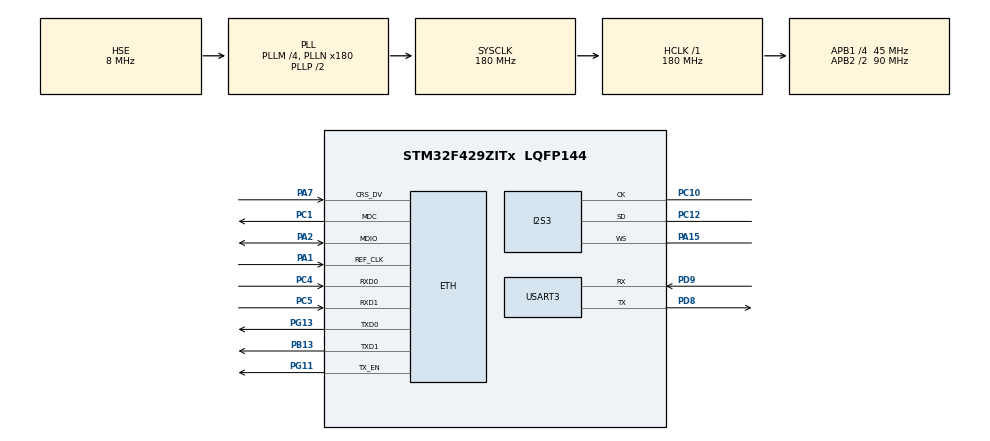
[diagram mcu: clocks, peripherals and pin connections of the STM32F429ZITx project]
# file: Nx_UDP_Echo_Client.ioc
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Dma.Request0=SPI3_TX
Dma.SPI3_TX.0.Direction=DMA_MEMORY_TO_PERIPH
Dma.SPI3_TX.0.FIFOMode=DMA_FIFOMODE_DISABLE
Dma.SPI3_TX.0.Instance=DMA1_Stream5
Dma.SPI3_TX.0.MemDataAlignment=DMA_MDATAALIGN_HALFWORD
Dma.SPI3_TX.0.MemInc=DMA_MINC_ENABLE
Dma.SPI3_TX.0.Mode=DMA_CIRCULAR
Dma.SPI3_TX.0.PeriphDataAlignment=DMA_PDATAALIGN_HALFWORD
Dma.SPI3_TX.0.PeriphInc=DMA_PINC_DISABLE
Dma.SPI3_TX.0.Priority=DMA_PRIORITY_LOW
ETH.ChecksumMode=ETH_CHECKSUM_BY_HARDWARE
ETH.MACAddr=00\:11\:83\:45\:26\:20
ETH.MediaInterface=HAL_ETH_RMII_MODE
ETH.PhyAddress=0
ETH.RxMode=ETH_RXINTERRUPT_MODE
I2S3.AudioFreq=I2S_AUDIOFREQ_48K
I2S3.ErrorAudioFreq=0.0 %
I2S3.FullDuplexMode=I2S_FULLDUPLEXMODE_DISABLE
I2S3.Instance=SPI$Index
I2S3.RealAudioFreq=48.0 KHz
I2S3.VirtualMode=I2S_MODE_MASTER
Mcu.Family=STM32F4
Mcu.Name=STM32F429ZITx
Mcu.Package=LQFP144
NVIC.DMA1_Stream5_IRQn=true\:1\:0\:true\:false\:true\:true\:false\:true\:true
NVIC.ETH_IRQn=true\:7\:0\:true\:false\:true\:false\:false\:true\:true
NVIC.PriorityGroup=NVIC_PRIORITYGROUP_4
NVIC.SPI3_IRQn=true\:2\:0\:true\:false\:true\:false\:true\:true\:true
NVIC.TIM6_DAC_IRQn=true\:15\:0\:false\:false\:true\:false\:false\:true\:true
NVIC.TIM7_IRQn=true\:14\:0\:true\:false\:true\:false\:true\:true\:true
NVIC.TimeBase=TIM6_DAC_IRQn
NVIC.TimeBaseIP=TIM6
PA1.Mode=RMII
PA1.Signal=ETH_REF_CLK
PA15.GPIO_Speed=GPIO_SPEED_FREQ_VERY_HIGH
PA15.Mode=Half_Duplex_Master
PA15.Signal=I2S3_WS
PA2.Mode=RMII
PA2.Signal=ETH_MDIO
PA7.Mode=RMII
PA7.Signal=ETH_CRS_DV
PB13.Mode=RMII
PB13.Signal=ETH_TXD1
PC1.Mode=RMII
PC1.Signal=ETH_MDC
PC10.GPIO_Speed=GPIO_SPEED_FREQ_VERY_HIGH
PC10.Mode=Half_Duplex_Master
PC10.Signal=I2S3_CK
PC12.GPIO_Speed=GPIO_SPEED_FREQ_VERY_HIGH
PC12.Mode=Half_Duplex_Master
PC12.Signal=I2S3_SD
PC4.Mode=RMII
PC4.Signal=ETH_RXD0
PC5.Mode=RMII
PC5.Signal=ETH_RXD1
PD8.Mode=Asynchronous
PD8.Signal=USART3_TX
PD9.Mode=Asynchronous
PD9.Signal=USART3_RX
PG11.Mode=RMII
PG11.Signal=ETH_TX_EN
PG13.Mode=RMII
PG13.Signal=ETH_TXD0
PH0/OSC_IN.Mode=HSE-External-Clock-Source
PH0/OSC_IN.Signal=RCC_OSC_IN
PH1/OSC_OUT.Mode=HSE-External-Clock-Source
PH1/OSC_OUT.Signal=RCC_OSC_OUT
ProjectManager.HeapSize=0x200
ProjectManager.StackSize=0x400
ProjectManager.TargetToolchain=STM32CubeIDE
RCC.48MHZClocksFreq_Value=120000000
RCC.AHBFreq_Value=180000000
RCC.APB1CLKDivider=RCC_HCLK_DIV4
RCC.APB1Freq_Value=45000000
RCC.APB1TimFreq_Value=90000000
RCC.APB2CLKDivider=RCC_HCLK_DIV2
RCC.APB2Freq_Value=90000000
RCC.APB2TimFreq_Value=180000000
RCC.CortexFreq_Value=180000000
RCC.HCLKFreq_Value=180000000
RCC.HSE_VALUE=8000000
RCC.HSI_VALUE=16000000
RCC.LSE_VALUE=32768
RCC.PLLI2SR=5
RCC.PLLM=4
RCC.PLLN=180
RCC.PLLQ=3
RCC.PLLSourceVirtual=RCC_PLLSOURCE_HSE
RCC.SYSCLKFreq_VALUE=180000000
RCC.SYSCLKSource=RCC_SYSCLKSOURCE_PLLCLK
RCC.VCOOutputFreq_Value=360000000
STMicroelectronics.X-CUBE-AZRTOS-F4.1.1.0.AZUREIiRTOSIiApplicationsCcDeviceJjApplication=azureIirtosIiapp
STMicroelectronics.X-CUBE-AZRTOS-F4.1.1.0.AZUREIiRTOSIiApplicationsCcDeviceJjHWIiProfile=STM32F429ZIIiNUCLEO
STMicroelectronics.X-CUBE-AZRTOS-F4.1.1.0.InterfacesCcNetworkJjEthernetOoInterface=true
STMicroelectronics.X-CUBE-AZRTOS-F4.1.1.0.InterfacesCcNetworkJjEthernetOoPhyOoInterface=LAN8742IiPhyIiInterface
STMicroelectronics.X-CUBE-AZRTOS-F4.1.1.0.NX_APP_MEM_POOL_SIZE=30 * 1024
STMicroelectronics.X-CUBE-AZRTOS-F4.1.1.0.NX_ENABLE_INTERFACE_CAPABILITY=true
STMicroelectronics.X-CUBE-AZRTOS-F4.1.1.0.NetXDuoCcNetworkJjNetXDuoJjAddonsOoDHCPOoClient=true
STMicroelectronics.X-CUBE-AZRTOS-F4.1.1.0.NetXDuoCcNetworkJjNetXDuoJjNXOoCore=true
STMicroelectronics.X-CUBE-AZRTOS-F4.1.1.0.STM32CubeIiBSPIiComponentsCcBoardOoPartJjETHPhyJjLAN8742=true
STMicroelectronics.X-CUBE-AZRTOS-F4.1.1.0.TX_DISABLE_NOTIFY_CALLBACKS=0
STMicroelectronics.X-CUBE-AZRTOS-F4.1.1.0.TX_DISABLE_PREEMPTION_THRESHOLD=1
STMicroelectronics.X-CUBE-AZRTOS-F4.1.1.0.TX_ENABLE_EXECUTION_CHANGE_NOTIFY=1
STMicroelectronics.X-CUBE-AZRTOS-F4.1.1.0.ThreadXCcRTOSJjThreadXJjCore=true
STMicroelectronics.X-CUBE-AZRTOS-F4.1.1.0_IsAnAzureRtosMw=true
TIM7.Period=24999
TIM7.Prescaler=90
USART3.VirtualMode=VM_ASYNC
VP_STMicroelectronics.X-CUBE-AZRTOS-F4_VS_BoardOoPartJjSTM32CubeIiBSPIiComponents_1.1.0_1.1.0.Mode=BoardOoPartJjSTM32CubeIiBSPIiComponents
VP_STMicroelectronics.X-CUBE-AZRTOS-F4_VS_NetworkJjInterfaces_2.1.0_1.1.0.Mode=NetworkJjInterfaces
VP_STMicroelectronics.X-CUBE-AZRTOS-F4_VS_NetworkJjNetXDuo_6.1.10_1.1.0.Mode=NetworkJjNetXDuo
VP_STMicroelectronics.X-CUBE-AZRTOS-F4_VS_RTOSJjThreadX_6.1.10_1.1.0.Mode=RTOSJjThreadX
VP_SYS_VS_tim6.Mode=TIM6
VP_TIM7_VS_ClockSourceINT.Mode=Enable_Timer
board=NUCLEO-F429ZI

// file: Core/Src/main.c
/* USER CODE BEGIN Header */
/**
  ******************************************************************************
  * @file           : main.c
  * @brief          : Main program body
  ******************************************************************************
  * @attention
  *
  * Copyright (c) 2021 STMicroelectronics.
  * All rights reserved.
  *
  * This software is licensed under terms that can be found in the LICENSE file
  * in the root directory of this software component.
  * If no LICENSE file comes with this software, it is provided AS-IS.
  *
  ******************************************************************************
  */
/* USER CODE END Header */
#include "app_threadx.h"
#include "main.h"
#include "string.h"

/* USER CODE BEGIN Includes */
#include <stdio.h>
/* USER CODE END Includes */

/* USER CODE BEGIN PM */
#if defined ( __GNUC__) && !defined(__clang__)
/* With GCC, small printf (option LD Linker->Libraries->Small printf
   set to 'Yes') calls __io_putchar() */
#define PUTCHAR_PROTOTYPE int __io_putchar(int ch)
#else
#define PUTCHAR_PROTOTYPE int fputc(int ch, FILE *f)
#endif /* __GNUC__ */

/* USER CODE END PM */

ETH_TxPacketConfig TxConfig;
ETH_DMADescTypeDef  DMARxDscrTab[ETH_RX_DESC_CNT]; /* Ethernet Rx DMA Descriptors */
ETH_DMADescTypeDef  DMATxDscrTab[ETH_TX_DESC_CNT]; /* Ethernet Tx DMA Descriptors */

ETH_HandleTypeDef heth;

I2S_HandleTypeDef hi2s3;
DMA_HandleTypeDef hdma_spi3_tx;

TIM_HandleTypeDef htim7;

UART_HandleTypeDef huart3;

void SystemClock_Config(void);
static void MX_GPIO_Init(void);
static void MX_DMA_Init(void);
static void MX_ETH_Init(void);
static void MX_USART3_UART_Init(void);
static void MX_I2S3_Init(void);
static void MX_TIM7_Init(void);

int main(void)
{

  /* MCU Configuration--------------------------------------------------------*/

  /* Reset of all peripherals, Initializes the Flash interface and the Systick. */
  HAL_Init();

  /* Configure the system clock */
  SystemClock_Config();

  /* USER CODE BEGIN SysInit */
  BSP_LED_Init(LED_GREEN);
  BSP_LED_Init(LED_BLUE);
  BSP_LED_Init(LED_RED);
  /* USER CODE END SysInit */

  /* Initialize all configured peripherals */
  MX_GPIO_Init();
  MX_DMA_Init();
  MX_ETH_Init();
  MX_USART3_UART_Init();
  MX_I2S3_Init();
  MX_TIM7_Init();
  /* USER CODE BEGIN 2 */

  //HAL_TIM_Base_Start_IT(&htim7);
  /* USER CODE END 2 */

  MX_ThreadX_Init();

  /* We should never get here as control is now taken by the scheduler */

  /* Infinite loop */
  while (1)
  {

  }
}

void SystemClock_Config(void)
{
  RCC_OscInitTypeDef RCC_OscInitStruct = {0};
  RCC_ClkInitTypeDef RCC_ClkInitStruct = {0};

  /** Configure the main internal regulator output voltage
  */
  __HAL_RCC_PWR_CLK_ENABLE();
  __HAL_PWR_VOLTAGESCALING_CONFIG(PWR_REGULATOR_VOLTAGE_SCALE1);

  /** Initializes the RCC Oscillators according to the specified parameters
  * in the RCC_OscInitTypeDef structure.
  */
  RCC_OscInitStruct.OscillatorType = RCC_OSCILLATORTYPE_HSE;
  RCC_OscInitStruct.HSEState = RCC_HSE_BYPASS;
  RCC_OscInitStruct.PLL.PLLState = RCC_PLL_ON;
  RCC_OscInitStruct.PLL.PLLSource = RCC_PLLSOURCE_HSE;
  RCC_OscInitStruct.PLL.PLLM = 4;
  RCC_OscInitStruct.PLL.PLLN = 180;
  RCC_OscInitStruct.PLL.PLLP = RCC_PLLP_DIV2;
  RCC_OscInitStruct.PLL.PLLQ = 3;
  if (HAL_RCC_OscConfig(&RCC_OscInitStruct) != HAL_OK)
  {
    Error_Handler();
  }

  /** Activate the Over-Drive mode
  */
  if (HAL_PWREx_EnableOverDrive() != HAL_OK)
  {
    Error_Handler();
  }

  /** Initializes the CPU, AHB and APB buses clocks
  */
  RCC_ClkInitStruct.ClockType = RCC_CLOCKTYPE_HCLK|RCC_CLOCKTYPE_SYSCLK
                              |RCC_CLOCKTYPE_PCLK1|RCC_CLOCKTYPE_PCLK2;
  RCC_ClkInitStruct.SYSCLKSource = RCC_SYSCLKSOURCE_PLLCLK;
  RCC_ClkInitStruct.AHBCLKDivider = RCC_SYSCLK_DIV1;
  RCC_ClkInitStruct.APB1CLKDivider = RCC_HCLK_DIV4;
  RCC_ClkInitStruct.APB2CLKDivider = RCC_HCLK_DIV2;

  if (HAL_RCC_ClockConfig(&RCC_ClkInitStruct, FLASH_LATENCY_5) != HAL_OK)
  {
    Error_Handler();
  }
}

static void MX_ETH_Init(void)
{

   static uint8_t MACAddr[6];

  heth.Instance = ETH;
  MACAddr[0] = 0x00;
  MACAddr[1] = 0x11;
  MACAddr[2] = 0x83;
  MACAddr[3] = 0x45;
  MACAddr[4] = 0x26;
  MACAddr[5] = 0x20;
  heth.Init.MACAddr = &MACAddr[0];
  heth.Init.MediaInterface = HAL_ETH_RMII_MODE;
  heth.Init.TxDesc = DMATxDscrTab;
  heth.Init.RxDesc = DMARxDscrTab;
  heth.Init.RxBuffLen = 1536;

  if (HAL_ETH_Init(&heth) != HAL_OK)
  {
    Error_Handler();
  }

  memset(&TxConfig, 0 , sizeof(ETH_TxPacketConfig));
  TxConfig.Attributes = ETH_TX_PACKETS_FEATURES_CSUM | ETH_TX_PACKETS_FEATURES_CRCPAD;
  TxConfig.ChecksumCtrl = ETH_CHECKSUM_IPHDR_PAYLOAD_INSERT_PHDR_CALC;
  TxConfig.CRCPadCtrl = ETH_CRC_PAD_INSERT;

}

static void MX_I2S3_Init(void)
{

  hi2s3.Instance = SPI3;
  hi2s3.Init.Mode = I2S_MODE_MASTER_TX;
  hi2s3.Init.Standard = I2S_STANDARD_PHILIPS;
  hi2s3.Init.DataFormat = I2S_DATAFORMAT_16B;
  hi2s3.Init.MCLKOutput = I2S_MCLKOUTPUT_DISABLE;
  hi2s3.Init.AudioFreq = I2S_AUDIOFREQ_48K;
  hi2s3.Init.CPOL = I2S_CPOL_LOW;
  hi2s3.Init.ClockSource = I2S_CLOCK_PLL;
  hi2s3.Init.FullDuplexMode = I2S_FULLDUPLEXMODE_DISABLE;
  if (HAL_I2S_Init(&hi2s3) != HAL_OK)
  {
    Error_Handler();
  }

}

static void MX_TIM7_Init(void)
{

  TIM_MasterConfigTypeDef sMasterConfig = {0};

  htim7.Instance = TIM7;
  htim7.Init.Prescaler = 89;
  htim7.Init.CounterMode = TIM_COUNTERMODE_UP;
  htim7.Init.Period = 0xFFFF;
  htim7.Init.AutoReloadPreload = TIM_AUTORELOAD_PRELOAD_DISABLE;
  if (HAL_TIM_Base_Init(&htim7) != HAL_OK)
  {
    Error_Handler();
  }
  sMasterConfig.MasterOutputTrigger = TIM_TRGO_RESET;
  sMasterConfig.MasterSlaveMode = TIM_MASTERSLAVEMODE_DISABLE;
  if (HAL_TIMEx_MasterConfigSynchronization(&htim7, &sMasterConfig) != HAL_OK)
  {
    Error_Handler();
  }

}

static void MX_USART3_UART_Init(void)
{

  huart3.Instance = USART3;
  huart3.Init.BaudRate = 115200;
  huart3.Init.WordLength = UART_WORDLENGTH_8B;
  huart3.Init.StopBits = UART_STOPBITS_1;
  huart3.Init.Parity = UART_PARITY_NONE;
  huart3.Init.Mode = UART_MODE_TX_RX;
  huart3.Init.HwFlowCtl = UART_HWCONTROL_NONE;
  huart3.Init.OverSampling = UART_OVERSAMPLING_16;
  if (HAL_UART_Init(&huart3) != HAL_OK)
  {
    Error_Handler();
  }

}

static void MX_DMA_Init(void)
{

  /* DMA controller clock enable */
  __HAL_RCC_DMA1_CLK_ENABLE();

  /* DMA interrupt init */
  /* DMA1_Stream5_IRQn interrupt configuration */
  HAL_NVIC_SetPriority(DMA1_Stream5_IRQn, 1, 0);
  HAL_NVIC_EnableIRQ(DMA1_Stream5_IRQn);

}

static void MX_GPIO_Init(void)
{

  /* GPIO Ports Clock Enable */
  __HAL_RCC_GPIOH_CLK_ENABLE();
  __HAL_RCC_GPIOC_CLK_ENABLE();
  __HAL_RCC_GPIOA_CLK_ENABLE();
  __HAL_RCC_GPIOB_CLK_ENABLE();
  __HAL_RCC_GPIOD_CLK_ENABLE();
  __HAL_RCC_GPIOG_CLK_ENABLE();

}

/* USER CODE BEGIN 4 */
/**
  * @brief  Retargets the C library printf function to the USART.
  * @param  None
  * @retval None
  */
PUTCHAR_PROTOTYPE
{
  /* Place your implementation of fputc here */
  /* e.g. write a character to the USART1 and Loop until the end of transmission */
  HAL_UART_Transmit(&huart3, (uint8_t *)&ch, 1, 0xFFFF);

  return ch;
}

/**
* @brief  This function is executed in case of success.
* @retval None
*/
void Success_Handler(void)
{
  /* USER CODE BEGIN Success_Handler_Debug */
  BSP_LED_Off(LED_RED);
  while(1)
  {
    BSP_LED_Toggle(LED_GREEN);
    tx_thread_sleep(50);
  }
  /* USER CODE END Success_Handler_Debug */
}

/* USER CODE END 4 */

void HAL_TIM_PeriodElapsedCallback(TIM_HandleTypeDef *htim)
{
  /* USER CODE BEGIN Callback 0 */
	if (htim->Instance == TIM7) {

	  }
  /* USER CODE END Callback 0 */
  if (htim->Instance == TIM6) {
    HAL_IncTick();
  }
}

void Error_Handler(void)
{
  /* USER CODE BEGIN Error_Handler_Debug */
  /* User can add his own implementation to report the HAL error return state */
  BSP_LED_Off(LED_GREEN);
  while (1)
  {
    BSP_LED_Toggle(LED_RED);
    HAL_Delay(200);
  }
  /* USER CODE END Error_Handler_Debug */
}
